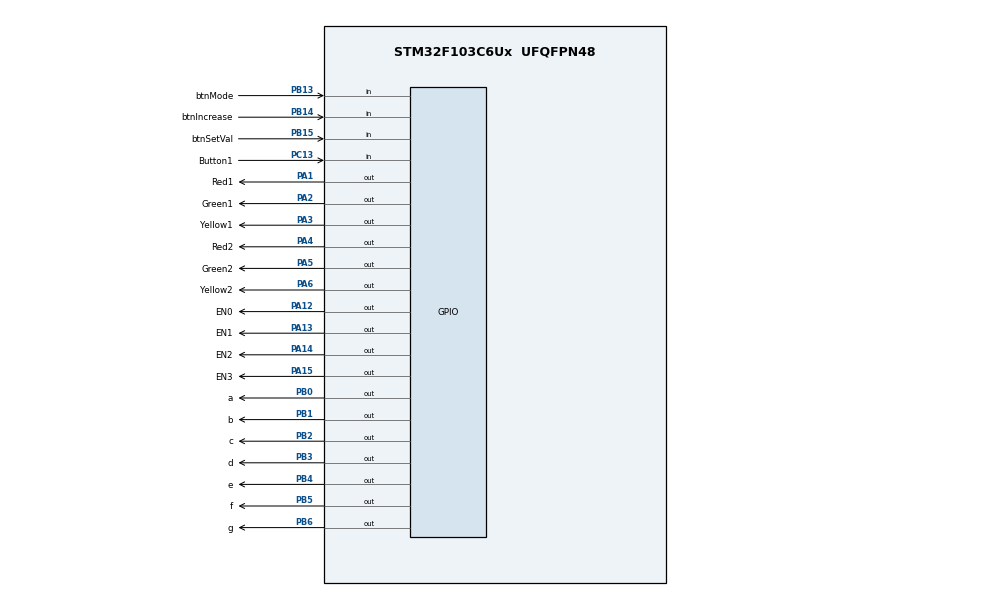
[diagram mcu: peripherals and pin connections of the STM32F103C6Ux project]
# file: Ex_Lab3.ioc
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Mcu.Family=STM32F1
Mcu.Name=STM32F103C6Ux
Mcu.Package=UFQFPN48
NVIC.PriorityGroup=NVIC_PRIORITYGROUP_4
NVIC.TIM2_IRQn=true\:0\:0\:false\:false\:true\:true\:true
PA1.GPIO_Label=Red1
PA1.Signal=GPIO_Output
PA12.GPIO_Label=EN0
PA12.Signal=GPIO_Output
PA13.GPIO_Label=EN1
PA13.Signal=GPIO_Output
PA14.GPIO_Label=EN2
PA14.Signal=GPIO_Output
PA15.GPIO_Label=EN3
PA15.Signal=GPIO_Output
PA2.GPIO_Label=Green1
PA2.Signal=GPIO_Output
PA3.GPIO_Label=Yellow1
PA3.Signal=GPIO_Output
PA4.GPIO_Label=Red2
PA4.Signal=GPIO_Output
PA5.GPIO_Label=Green2
PA5.Signal=GPIO_Output
PA6.GPIO_Label=Yellow2
PA6.Signal=GPIO_Output
PB0.GPIO_Label=a
PB0.Signal=GPIO_Output
PB1.GPIO_Label=b
PB1.Signal=GPIO_Output
PB13.GPIO_Label=btnMode
PB13.GPIO_PuPd=GPIO_PULLUP
PB13.Signal=GPIO_Input
PB14.GPIO_Label=btnIncrease
PB14.GPIO_PuPd=GPIO_PULLUP
PB14.Signal=GPIO_Input
PB15.GPIO_Label=btnSetVal
PB15.GPIO_PuPd=GPIO_PULLUP
PB15.Signal=GPIO_Input
PB2.GPIO_Label=c
PB2.Signal=GPIO_Output
PB3.GPIO_Label=d
PB3.Signal=GPIO_Output
PB4.GPIO_Label=e
PB4.Signal=GPIO_Output
PB5.GPIO_Label=f
PB5.Signal=GPIO_Output
PB6.GPIO_Label=g
PB6.Signal=GPIO_Output
PC13-TAMPER-RTC.GPIO_Label=Button1
PC13-TAMPER-RTC.GPIO_PuPd=GPIO_PULLUP
PC13-TAMPER-RTC.Signal=GPIO_Input
ProjectManager.HeapSize=0x200
ProjectManager.StackSize=0x400
ProjectManager.TargetToolchain=STM32CubeIDE
RCC.APB1Freq_Value=8000000
RCC.APB2Freq_Value=8000000
TIM2.Period=9
TIM2.Prescaler=7999
VP_SYS_VS_ND.Mode=No_Debug
VP_TIM2_VS_ClockSourceINT.Mode=Internal
board=custom

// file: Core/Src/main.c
/* USER CODE BEGIN Header */
/**
  ******************************************************************************
  * @file           : main.c
  * @brief          : Main program body
  ******************************************************************************
  * @attention
  *
  * <h2><center>&copy; Copyright (c) 2023 STMicroelectronics.
  * All rights reserved.</center></h2>
  *
  * This software component is licensed by ST under BSD 3-Clause license,
  * the "License"; You may not use this file except in compliance with the
  * License. You may obtain a copy of the License at:
  *                        opensource.org/licenses/BSD-3-Clause
  *
  ******************************************************************************
  */
/* USER CODE END Header */
#include "main.h"

/* USER CODE BEGIN Includes */
#include "software_timer.h"
#include "button.h"
#include "fsm_automatic.h"
#include "fsm_manual.h"
#include "traffic_light.h"
#include "global.h"
/* USER CODE END Includes */

TIM_HandleTypeDef htim2;

void SystemClock_Config(void);
static void MX_GPIO_Init(void);
static void MX_TIM2_Init(void);

int main(void)
{

  /* MCU Configuration--------------------------------------------------------*/

  /* Reset of all peripherals, Initializes the Flash interface and the Systick. */
  HAL_Init();

  /* Configure the system clock */
  SystemClock_Config();

  /* Initialize all configured peripherals */
  MX_GPIO_Init();
  MX_TIM2_Init();
  /* USER CODE BEGIN 2 */
  HAL_TIM_Base_Start_IT(&htim2);
  /* USER CODE END 2 */

  /* Infinite loop */
  /* USER CODE BEGIN WHILE */
  setTimer3(1);
  setTimer4(1);
//  timer3_flag = 1;
//  timer4_flag = 1;
  timerLed7Seg1 = RedVal;
  timerLed7Seg2 = GreenVal;
  RedCurr = RedVal;
  GreenCurr = GreenVal;
  YellowCurr = YellowVal;
  status = INIT;
//  clearSeg();
  while (1)
  {

	  fsm_automatic_run();
	  fsm_manual_run();

    /* USER CODE END WHILE */

  }
}

void SystemClock_Config(void)
{
  RCC_OscInitTypeDef RCC_OscInitStruct = {0};
  RCC_ClkInitTypeDef RCC_ClkInitStruct = {0};

  /** Initializes the RCC Oscillators according to the specified parameters
  * in the RCC_OscInitTypeDef structure.
  */
  RCC_OscInitStruct.OscillatorType = RCC_OSCILLATORTYPE_HSI;
  RCC_OscInitStruct.HSIState = RCC_HSI_ON;
  RCC_OscInitStruct.HSICalibrationValue = RCC_HSICALIBRATION_DEFAULT;
  RCC_OscInitStruct.PLL.PLLState = RCC_PLL_NONE;
  if (HAL_RCC_OscConfig(&RCC_OscInitStruct) != HAL_OK)
  {
    Error_Handler();
  }
  /** Initializes the CPU, AHB and APB buses clocks
  */
  RCC_ClkInitStruct.ClockType = RCC_CLOCKTYPE_HCLK|RCC_CLOCKTYPE_SYSCLK
                              |RCC_CLOCKTYPE_PCLK1|RCC_CLOCKTYPE_PCLK2;
  RCC_ClkInitStruct.SYSCLKSource = RCC_SYSCLKSOURCE_HSI;
  RCC_ClkInitStruct.AHBCLKDivider = RCC_SYSCLK_DIV1;
  RCC_ClkInitStruct.APB1CLKDivider = RCC_HCLK_DIV1;
  RCC_ClkInitStruct.APB2CLKDivider = RCC_HCLK_DIV1;

  if (HAL_RCC_ClockConfig(&RCC_ClkInitStruct, FLASH_LATENCY_0) != HAL_OK)
  {
    Error_Handler();
  }
}

static void MX_TIM2_Init(void)
{

  TIM_ClockConfigTypeDef sClockSourceConfig = {0};
  TIM_MasterConfigTypeDef sMasterConfig = {0};

  htim2.Instance = TIM2;
  htim2.Init.Prescaler = 7999;
  htim2.Init.CounterMode = TIM_COUNTERMODE_UP;
  htim2.Init.Period = 9;
  htim2.Init.ClockDivision = TIM_CLOCKDIVISION_DIV1;
  htim2.Init.AutoReloadPreload = TIM_AUTORELOAD_PRELOAD_DISABLE;
  if (HAL_TIM_Base_Init(&htim2) != HAL_OK)
  {
    Error_Handler();
  }
  sClockSourceConfig.ClockSource = TIM_CLOCKSOURCE_INTERNAL;
  if (HAL_TIM_ConfigClockSource(&htim2, &sClockSourceConfig) != HAL_OK)
  {
    Error_Handler();
  }
  sMasterConfig.MasterOutputTrigger = TIM_TRGO_RESET;
  sMasterConfig.MasterSlaveMode = TIM_MASTERSLAVEMODE_DISABLE;
  if (HAL_TIMEx_MasterConfigSynchronization(&htim2, &sMasterConfig) != HAL_OK)
  {
    Error_Handler();
  }

}

static void MX_GPIO_Init(void)
{
  GPIO_InitTypeDef GPIO_InitStruct = {0};

  /* GPIO Ports Clock Enable */
  __HAL_RCC_GPIOC_CLK_ENABLE();
  __HAL_RCC_GPIOA_CLK_ENABLE();
  __HAL_RCC_GPIOB_CLK_ENABLE();

  /*Configure GPIO pin Output Level */
  HAL_GPIO_WritePin(GPIOA, Red1_Pin|Green1_Pin|Yellow1_Pin|Red2_Pin
                          |Green2_Pin|Yellow2_Pin|EN0_Pin|EN1_Pin
                          |EN2_Pin|EN3_Pin, GPIO_PIN_RESET);

  /*Configure GPIO pin Output Level */
  HAL_GPIO_WritePin(GPIOB, a_Pin|b_Pin|c_Pin|d_Pin
                          |e_Pin|f_Pin|g_Pin, GPIO_PIN_RESET);

  /*Configure GPIO pin : Button1_Pin */
  GPIO_InitStruct.Pin = Button1_Pin;
  GPIO_InitStruct.Mode = GPIO_MODE_INPUT;
  GPIO_InitStruct.Pull = GPIO_PULLUP;
  HAL_GPIO_Init(Button1_GPIO_Port, &GPIO_InitStruct);

  /*Configure GPIO pins : Red1_Pin Green1_Pin Yellow1_Pin Red2_Pin
                           Green2_Pin Yellow2_Pin EN0_Pin EN1_Pin
                           EN2_Pin EN3_Pin */
  GPIO_InitStruct.Pin = Red1_Pin|Green1_Pin|Yellow1_Pin|Red2_Pin
                          |Green2_Pin|Yellow2_Pin|EN0_Pin|EN1_Pin
                          |EN2_Pin|EN3_Pin;
  GPIO_InitStruct.Mode = GPIO_MODE_OUTPUT_PP;
  GPIO_InitStruct.Pull = GPIO_NOPULL;
  GPIO_InitStruct.Speed = GPIO_SPEED_FREQ_LOW;
  HAL_GPIO_Init(GPIOA, &GPIO_InitStruct);

  /*Configure GPIO pins : a_Pin b_Pin c_Pin d_Pin
                           e_Pin f_Pin g_Pin */
  GPIO_InitStruct.Pin = a_Pin|b_Pin|c_Pin|d_Pin
                          |e_Pin|f_Pin|g_Pin;
  GPIO_InitStruct.Mode = GPIO_MODE_OUTPUT_PP;
  GPIO_InitStruct.Pull = GPIO_NOPULL;
  GPIO_InitStruct.Speed = GPIO_SPEED_FREQ_LOW;
  HAL_GPIO_Init(GPIOB, &GPIO_InitStruct);

  /*Configure GPIO pins : btnMode_Pin btnIncrease_Pin btnSetVal_Pin */
  GPIO_InitStruct.Pin = btnMode_Pin|btnIncrease_Pin|btnSetVal_Pin;
  GPIO_InitStruct.Mode = GPIO_MODE_INPUT;
  GPIO_InitStruct.Pull = GPIO_PULLUP;
  HAL_GPIO_Init(GPIOB, &GPIO_InitStruct);

}

/* USER CODE BEGIN 4 */
void HAL_TIM_PeriodElapsedCallback(TIM_HandleTypeDef *htim){
	timerProcess();
	timerRun();
	getKeyInput();
}
/* USER CODE END 4 */

void Error_Handler(void)
{
  __disable_irq();
  while (1)
  {
  }
}

/************************ (C) COPYRIGHT STMicroelectronics *****END OF FILE****/
